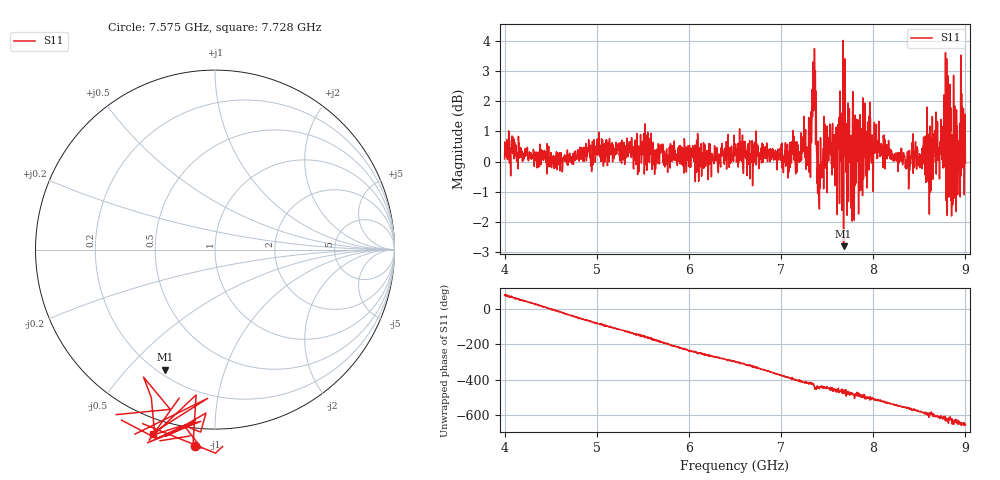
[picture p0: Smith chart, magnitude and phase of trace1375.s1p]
! Created with skrf 1.8.0 (http://scikit-rf.org).
# Hz S RI R 50.0
!freq ReS11 ImS11
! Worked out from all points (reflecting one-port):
!   1601 points, 4 GHz to 9 GHz, reference 50 ohm
!   lowest |S11| = -2.8 dB at 7.678 GHz (marker M1), VSWR 6.23, Z = 11.5 - j32.2 ohm
!   phase of S11 starts at 76 deg and turns -729 deg over the sweep
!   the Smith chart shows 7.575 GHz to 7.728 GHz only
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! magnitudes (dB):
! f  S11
! 4 GHz  0.1
! 4.625 GHz  -0.3
! 5.25 GHz  0.0
! 5.875 GHz  -0.1
! 6.5 GHz  0.4
! 7.125 GHz  0.2
! 7.175 GHz  -0.3
! 7.241 GHz  0.4
! 7.294 GHz  0.2
! 7.316 GHz  0.7
! 7.356 GHz  2.7
! 7.412 GHz  -1.3
! 7.491 GHz  0.2
! 7.588 GHz  -0.8
! 7.678 GHz  -2.8
! 7.75 GHz  0.5
! 7.784 GHz  -0.3
! 7.8 GHz  -0.8
! 7.966 GHz  0.2
! 8.375 GHz  -0.1
! 8.441 GHz  -0.2
! 8.612 GHz  0.7
! 8.656 GHz  0.9
! 8.738 GHz  0.8
! 8.775 GHz  1.5
! 8.875 GHz  0.5
! 8.972 GHz  0.9
! 9 GHz  0.0
